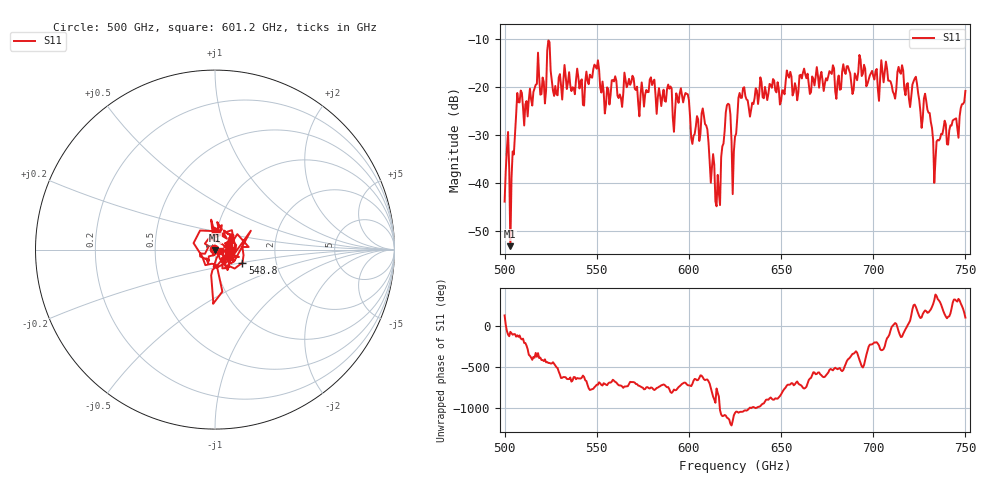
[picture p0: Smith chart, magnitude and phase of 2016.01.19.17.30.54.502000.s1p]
!Created with skrf (http://scikit-rf.org).
# GHz S RI R 50.0
!freq ReS11 ImS11
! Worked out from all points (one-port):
!   401 points, 500 GHz to 750 GHz, reference 50 ohm
!   lowest |S11| = -53.2 dB at 503.1 GHz (marker M1), VSWR 1.00, Z = 50.1 - j0.213 ohm
!   |S11| at or under -10 dB: start of sweep to end of sweep
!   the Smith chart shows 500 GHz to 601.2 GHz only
!   S11 on the Smith chart (normalised r, x): 500 GHz: 0.99, +0.01; 548.8 GHz: 1.34, -0.20; 601.2 GHz: 1.06, -0.01
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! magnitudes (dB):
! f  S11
! 500 GHz  -43.9
! 503.1 GHz  -53.2
! 508.1 GHz  -23.3
! 521.2 GHz  -19.0
! 524.4 GHz  -10.8
! 527.5 GHz  -19.8
! 531.2 GHz  -22.7
! 541.9 GHz  -18.5
! 548.8 GHz  -15.4
! 562.5 GHz  -21.6
! 568.8 GHz  -19.0
! 593.8 GHz  -22.2
! 598.8 GHz  -21.5
! 601.2 GHz  -30.7
! 608.1 GHz  -26.1
! 615.6 GHz  -38.3
! 621.2 GHz  -23.6
! 625 GHz  -30.4
! 628.8 GHz  -22.3
! 656.2 GHz  -21.8
! 687.5 GHz  -17.2
! 705.6 GHz  -19.1
! 711.2 GHz  -21.6
! 715 GHz  -17.3
! 718.8 GHz  -19.3
! 728.8 GHz  -23.0
! 734.4 GHz  -31.4
! 750 GHz  -20.9
